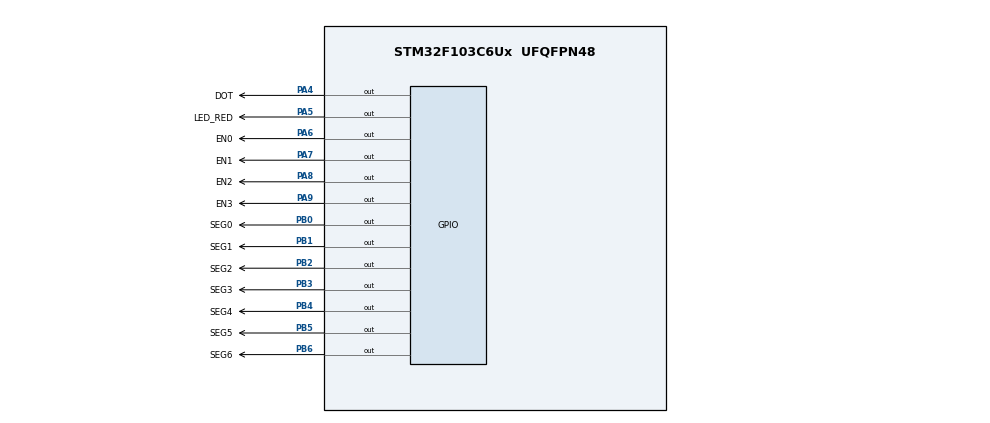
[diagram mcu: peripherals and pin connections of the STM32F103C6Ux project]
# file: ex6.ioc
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Mcu.Family=STM32F1
Mcu.Name=STM32F103C6Ux
Mcu.Package=UFQFPN48
NVIC.PriorityGroup=NVIC_PRIORITYGROUP_4
NVIC.TIM2_IRQn=true\:0\:0\:false\:false\:true\:true\:true
PA4.GPIO_Label=DOT
PA4.Signal=GPIO_Output
PA5.GPIO_Label=LED_RED
PA5.Signal=GPIO_Output
PA6.GPIO_Label=EN0
PA6.Signal=GPIO_Output
PA7.GPIO_Label=EN1
PA7.Signal=GPIO_Output
PA8.GPIO_Label=EN2
PA8.Signal=GPIO_Output
PA9.GPIO_Label=EN3
PA9.Signal=GPIO_Output
PB0.GPIO_Label=SEG0
PB0.Signal=GPIO_Output
PB1.GPIO_Label=SEG1
PB1.Signal=GPIO_Output
PB2.GPIO_Label=SEG2
PB2.Signal=GPIO_Output
PB3.GPIO_Label=SEG3
PB3.Signal=GPIO_Output
PB4.GPIO_Label=SEG4
PB4.Signal=GPIO_Output
PB5.GPIO_Label=SEG5
PB5.Signal=GPIO_Output
PB6.GPIO_Label=SEG6
PB6.Signal=GPIO_Output
ProjectManager.HeapSize=0x200
ProjectManager.StackSize=0x400
ProjectManager.TargetToolchain=STM32CubeIDE
RCC.APB1Freq_Value=8000000
RCC.APB2Freq_Value=8000000
TIM2.Period=9
TIM2.Prescaler=7999
VP_SYS_VS_ND.Mode=No_Debug
VP_TIM2_VS_ClockSourceINT.Mode=Internal
board=custom

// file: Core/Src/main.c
/* USER CODE BEGIN Header */
/**
  ******************************************************************************
  * @file           : main.c
  * @brief          : Main program body
  ******************************************************************************
  * @attention
  *
  * <h2><center>&copy; Copyright (c) 2022 STMicroelectronics.
  * All rights reserved.</center></h2>
  *
  * This software component is licensed by ST under BSD 3-Clause license,
  * the "License"; You may not use this file except in compliance with the
  * License. You may obtain a copy of the License at:
  *                        opensource.org/licenses/BSD-3-Clause
  *
  ******************************************************************************
  */
/* USER CODE END Header */
#include "main.h"

/* USER CODE BEGIN Includes */
#include "software_timer.h"
/* USER CODE END Includes */

TIM_HandleTypeDef htim2;

void SystemClock_Config(void);
static void MX_GPIO_Init(void);
static void MX_TIM2_Init(void);

/* USER CODE BEGIN 0 */
int timer0_counter = 0;
int timer0_flag = 0;
int TIMER_CYCLE = 10;
void setTimer0 (int duration ){
	timer0_counter = duration / TIMER_CYCLE ;
	timer0_flag = 0;
}
void timer_run (){
	if( timer0_counter > 0){
	timer0_counter --;
	if( timer0_counter == 0) timer0_flag = 1;
	}
}
const int MAX_LED = 4;
int index_led = 0;
int hour = 15, minute = 8, second = 57;
int led_buffer[4] = {1,2,3,4};
int pinControll7SEG[4] = {EN0_Pin, EN1_Pin, EN2_Pin, EN3_Pin};

/* USER CODE END 0 */
void clearLed() {
	HAL_GPIO_WritePin(GPIOA, EN0_Pin | EN1_Pin | EN2_Pin | EN3_Pin, SET);
}

void clearPin(int index) {
  HAL_GPIO_WritePin(GPIOA, pinControll7SEG[index], SET);
}

void enablePin(int index) {
	HAL_GPIO_WritePin(GPIOA, pinControll7SEG[index], RESET);
}

void display7SEG(int num) {
    char segNumber[10] = {0xC0, 0xF9, 0xA4, 0xB0, 0x99, 0x92, 0x82, 0xF8, 0x80, 0x90};
    for (int i = 0; i < 7; ++i) {
        HAL_GPIO_WritePin(GPIOB, GPIO_PIN_0 << i, (segNumber[num] >> i) & 1);
    }
}

void clearEnable(){
	HAL_GPIO_WritePin(EN0_GPIO_Port, EN0_Pin, 1);
	HAL_GPIO_WritePin(EN1_GPIO_Port, EN1_Pin, 1);
	HAL_GPIO_WritePin(EN2_GPIO_Port, EN2_Pin, 1);
	HAL_GPIO_WritePin(EN3_GPIO_Port, EN3_Pin, 1);
}

void update7SEG(int index) {
	clearLed();
	clearEnable();
	switch(index) {
	 // Display the first 7 SEG with led_buffer [0]
	  case 0: {
		  display7SEG(led_buffer[0]);
		  enablePin(0);
		  break;
	  }
	  // Display the first 7 SEG with led_buffer [1]
	  case 1: {
		  display7SEG(led_buffer[1]);
		  enablePin(1);
		  break;
	  }
	  // Display the first 7 SEG with led_buffer [2]
	  case 2: {
		  display7SEG(led_buffer[2]);
		  enablePin(2);
		  break;
	  }
	  // Display the first 7 SEG with led_buffer [3]
	  case 3: {
		  display7SEG(led_buffer[3]);
		  enablePin(3);
		  break;
	  }
	}
}

void updateClockBuffer() {
    led_buffer[0] = hour / 10;
    led_buffer[1] = hour % 10;
    led_buffer[2] = minute / 10;
    led_buffer[3] = minute % 10;
}

int main(void)
{

  /* MCU Configuration--------------------------------------------------------*/

  /* Reset of all peripherals, Initializes the Flash interface and the Systick. */
  HAL_Init();

  /* Configure the system clock */
  SystemClock_Config();

  /* Initialize all configured peripherals */
  MX_GPIO_Init();
  MX_TIM2_Init();
  /* USER CODE BEGIN 2 */
  HAL_TIM_Base_Start_IT(&htim2);
  /* USER CODE END 2 */

  /* Infinite loop */
  /* USER CODE BEGIN WHILE */

//  clearLed();
  setTimer0 (1000) ;
    while (1)
    {
  	  if( timer0_flag == 1){
  	  HAL_GPIO_TogglePin ( LED_RED_GPIO_Port , LED_RED_Pin );
  	  setTimer0 (2000) ;
  	  }
	  second++;
	  if (second >= 60){
		  second = 0;
		  minute++;
	  }
	  if(minute >= 60){
		  minute = 0;
		  hour++;
	  }
	  if(hour >= 24){
		  hour = 0;
	  }
	  updateClockBuffer();
	  HAL_Delay(1000);
    /* USER CODE END WHILE */
  }
}

//void display7SEG(int num)
//{
//    if (num == 0)
//    {
//        HAL_GPIO_WritePin(SEG0_GPIO_Port, SEG0_Pin, RESET);
//        HAL_GPIO_WritePin(SEG1_GPIO_Port, SEG1_Pin, RESET);
//        HAL_GPIO_WritePin(SEG2_GPIO_Port, SEG2_Pin, RESET);
//        HAL_GPIO_WritePin(SEG3_GPIO_Port, SEG3_Pin, RESET);
//        HAL_GPIO_WritePin(SEG4_GPIO_Port, SEG4_Pin, RESET);
//        HAL_GPIO_WritePin(SEG5_GPIO_Port, SEG5_Pin, RESET);
//        HAL_GPIO_WritePin(SEG6_GPIO_Port, SEG6_Pin, SET);
//    }
//
//    else if (num == 1)
//    {
//        HAL_GPIO_WritePin(SEG0_GPIO_Port, SEG0_Pin, SET);
//        HAL_GPIO_WritePin(SEG1_GPIO_Port, SEG1_Pin, RESET);
//        HAL_GPIO_WritePin(SEG2_GPIO_Port, SEG2_Pin, RESET);
//        HAL_GPIO_WritePin(SEG3_GPIO_Port, SEG3_Pin, SET);
//        HAL_GPIO_WritePin(SEG4_GPIO_Port, SEG4_Pin, SET);
//        HAL_GPIO_WritePin(SEG5_GPIO_Port, SEG5_Pin, SET);
//        HAL_GPIO_WritePin(SEG6_GPIO_Port, SEG6_Pin, SET);
//    }
//
//    else if (num == 2)
//    {
//        HAL_GPIO_WritePin(SEG0_GPIO_Port, SEG0_Pin, RESET);
//        HAL_GPIO_WritePin(SEG1_GPIO_Port, SEG1_Pin, RESET);
//        HAL_GPIO_WritePin(SEG2_GPIO_Port, SEG2_Pin,SET);
//        HAL_GPIO_WritePin(SEG3_GPIO_Port, SEG3_Pin, RESET);
//        HAL_GPIO_WritePin(SEG4_GPIO_Port, SEG4_Pin, RESET);
//        HAL_GPIO_WritePin(SEG5_GPIO_Port, SEG5_Pin, SET);
//        HAL_GPIO_WritePin(SEG6_GPIO_Port, SEG6_Pin, RESET);
//    }
//
//    else if (num == 3)
//    {
//        HAL_GPIO_WritePin(SEG0_GPIO_Port, SEG0_Pin, RESET);
//        HAL_GPIO_WritePin(SEG1_GPIO_Port, SEG1_Pin, RESET);
//        HAL_GPIO_WritePin(SEG2_GPIO_Port, SEG2_Pin,RESET);
//        HAL_GPIO_WritePin(SEG3_GPIO_Port, SEG3_Pin, RESET);
//        HAL_GPIO_WritePin(SEG4_GPIO_Port, SEG4_Pin, SET);
//        HAL_GPIO_WritePin(SEG5_GPIO_Port, SEG5_Pin, SET);
//        HAL_GPIO_WritePin(SEG6_GPIO_Port, SEG6_Pin, RESET);;
//    }
//
//    else if (num == 4)
//    {
//        HAL_GPIO_WritePin(SEG0_GPIO_Port, SEG0_Pin, SET);
//        HAL_GPIO_WritePin(SEG1_GPIO_Port, SEG1_Pin, RESET);
//        HAL_GPIO_WritePin(SEG2_GPIO_Port, SEG2_Pin,RESET);
//        HAL_GPIO_WritePin(SEG3_GPIO_Port, SEG3_Pin, SET);
//        HAL_GPIO_WritePin(SEG4_GPIO_Port, SEG4_Pin, SET);
//        HAL_GPIO_WritePin(SEG5_GPIO_Port, SEG5_Pin, RESET);
//        HAL_GPIO_WritePin(SEG6_GPIO_Port, SEG6_Pin, RESET);
//    }
//
//    else if (num == 5)
//    {
//        HAL_GPIO_WritePin(SEG0_GPIO_Port, SEG0_Pin, RESET);
//        HAL_GPIO_WritePin(SEG1_GPIO_Port, SEG1_Pin, SET);
//        HAL_GPIO_WritePin(SEG2_GPIO_Port, SEG2_Pin,RESET);
//        HAL_GPIO_WritePin(SEG3_GPIO_Port, SEG3_Pin, RESET);
//        HAL_GPIO_WritePin(SEG4_GPIO_Port, SEG4_Pin, SET);
//        HAL_GPIO_WritePin(SEG5_GPIO_Port, SEG5_Pin, RESET);
//        HAL_GPIO_WritePin(SEG6_GPIO_Port, SEG6_Pin, RESET);
//    }
//
//    else if (num == 6)
//    {
//        HAL_GPIO_WritePin(SEG0_GPIO_Port, SEG0_Pin, RESET);
//        HAL_GPIO_WritePin(SEG1_GPIO_Port, SEG1_Pin, SET);
//        HAL_GPIO_WritePin(SEG2_GPIO_Port, SEG2_Pin,RESET);
//        HAL_GPIO_WritePin(SEG3_GPIO_Port, SEG3_Pin, RESET);
//        HAL_GPIO_WritePin(SEG4_GPIO_Port, SEG4_Pin, RESET);
//        HAL_GPIO_WritePin(SEG5_GPIO_Port, SEG5_Pin, RESET);
//        HAL_GPIO_WritePin(SEG6_GPIO_Port, SEG6_Pin, RESET);
//    }
//
//    else if (num == 7)
//    {
//       HAL_GPIO_WritePin(SEG0_GPIO_Port, SEG0_Pin, RESET);
//        HAL_GPIO_WritePin(SEG1_GPIO_Port, SEG1_Pin, RESET);
//        HAL_GPIO_WritePin(SEG2_GPIO_Port, SEG2_Pin,RESET);
//        HAL_GPIO_WritePin(SEG3_GPIO_Port, SEG3_Pin, SET);
//        HAL_GPIO_WritePin(SEG4_GPIO_Port, SEG4_Pin, SET);
//        HAL_GPIO_WritePin(SEG5_GPIO_Port, SEG5_Pin, SET);
//        HAL_GPIO_WritePin(SEG6_GPIO_Port, SEG6_Pin, SET);
//    }
//
//    else if (num == 8)
//    {
//        HAL_GPIO_WritePin(SEG0_GPIO_Port, SEG0_Pin, RESET);
//        HAL_GPIO_WritePin(SEG1_GPIO_Port, SEG1_Pin, RESET);
//        HAL_GPIO_WritePin(SEG2_GPIO_Port, SEG2_Pin,RESET);
//        HAL_GPIO_WritePin(SEG3_GPIO_Port, SEG3_Pin, RESET);
//        HAL_GPIO_WritePin(SEG4_GPIO_Port, SEG4_Pin, RESET);
//        HAL_GPIO_WritePin(SEG5_GPIO_Port, SEG5_Pin, RESET);
//        HAL_GPIO_WritePin(SEG6_GPIO_Port, SEG6_Pin, RESET);
//    }
//
//    else if (num == 9)
//    {
//        HAL_GPIO_WritePin(SEG0_GPIO_Port, SEG0_Pin, RESET);
//        HAL_GPIO_WritePin(SEG1_GPIO_Port, SEG1_Pin, RESET);
//        HAL_GPIO_WritePin(SEG2_GPIO_Port, SEG2_Pin,RESET);
//        HAL_GPIO_WritePin(SEG3_GPIO_Port, SEG3_Pin, RESET);
//        HAL_GPIO_WritePin(SEG4_GPIO_Port, SEG4_Pin, SET);
//        HAL_GPIO_WritePin(SEG5_GPIO_Port, SEG5_Pin, RESET);
//        HAL_GPIO_WritePin(SEG6_GPIO_Port, SEG6_Pin, RESET);;
//    }
//
//}
void SystemClock_Config(void)
{
  RCC_OscInitTypeDef RCC_OscInitStruct = {0};
  RCC_ClkInitTypeDef RCC_ClkInitStruct = {0};

  /** Initializes the RCC Oscillators according to the specified parameters
  * in the RCC_OscInitTypeDef structure.
  */
  RCC_OscInitStruct.OscillatorType = RCC_OSCILLATORTYPE_HSI;
  RCC_OscInitStruct.HSIState = RCC_HSI_ON;
  RCC_OscInitStruct.HSICalibrationValue = RCC_HSICALIBRATION_DEFAULT;
  RCC_OscInitStruct.PLL.PLLState = RCC_PLL_NONE;
  if (HAL_RCC_OscConfig(&RCC_OscInitStruct) != HAL_OK)
  {
    Error_Handler();
  }
  /** Initializes the CPU, AHB and APB buses clocks
  */
  RCC_ClkInitStruct.ClockType = RCC_CLOCKTYPE_HCLK|RCC_CLOCKTYPE_SYSCLK
                              |RCC_CLOCKTYPE_PCLK1|RCC_CLOCKTYPE_PCLK2;
  RCC_ClkInitStruct.SYSCLKSource = RCC_SYSCLKSOURCE_HSI;
  RCC_ClkInitStruct.AHBCLKDivider = RCC_SYSCLK_DIV1;
  RCC_ClkInitStruct.APB1CLKDivider = RCC_HCLK_DIV1;
  RCC_ClkInitStruct.APB2CLKDivider = RCC_HCLK_DIV1;

  if (HAL_RCC_ClockConfig(&RCC_ClkInitStruct, FLASH_LATENCY_0) != HAL_OK)
  {
    Error_Handler();
  }
}

static void MX_TIM2_Init(void)
{

  TIM_ClockConfigTypeDef sClockSourceConfig = {0};
  TIM_MasterConfigTypeDef sMasterConfig = {0};

  htim2.Instance = TIM2;
  htim2.Init.Prescaler = 7999;
  htim2.Init.CounterMode = TIM_COUNTERMODE_UP;
  htim2.Init.Period = 9;
  htim2.Init.ClockDivision = TIM_CLOCKDIVISION_DIV1;
  htim2.Init.AutoReloadPreload = TIM_AUTORELOAD_PRELOAD_DISABLE;
  if (HAL_TIM_Base_Init(&htim2) != HAL_OK)
  {
    Error_Handler();
  }
  sClockSourceConfig.ClockSource = TIM_CLOCKSOURCE_INTERNAL;
  if (HAL_TIM_ConfigClockSource(&htim2, &sClockSourceConfig) != HAL_OK)
  {
    Error_Handler();
  }
  sMasterConfig.MasterOutputTrigger = TIM_TRGO_RESET;
  sMasterConfig.MasterSlaveMode = TIM_MASTERSLAVEMODE_DISABLE;
  if (HAL_TIMEx_MasterConfigSynchronization(&htim2, &sMasterConfig) != HAL_OK)
  {
    Error_Handler();
  }

}

static void MX_GPIO_Init(void)
{
  GPIO_InitTypeDef GPIO_InitStruct = {0};

  /* GPIO Ports Clock Enable */
  __HAL_RCC_GPIOA_CLK_ENABLE();
  __HAL_RCC_GPIOB_CLK_ENABLE();

  /*Configure GPIO pin Output Level */
  HAL_GPIO_WritePin(GPIOA, GPIO_PIN_4|GPIO_PIN_5|GPIO_PIN_6|GPIO_PIN_7
                          |GPIO_PIN_8|GPIO_PIN_9, GPIO_PIN_RESET);

  /*Configure GPIO pin Output Level */
  HAL_GPIO_WritePin(GPIOB, GPIO_PIN_0|GPIO_PIN_1|GPIO_PIN_2|GPIO_PIN_3
                          |GPIO_PIN_4|GPIO_PIN_5|GPIO_PIN_6, GPIO_PIN_RESET);

  /*Configure GPIO pins : PA4 PA5 PA6 PA7
                           PA8 PA9 */
  GPIO_InitStruct.Pin = GPIO_PIN_4|GPIO_PIN_5|GPIO_PIN_6|GPIO_PIN_7
                          |GPIO_PIN_8|GPIO_PIN_9;
  GPIO_InitStruct.Mode = GPIO_MODE_OUTPUT_PP;
  GPIO_InitStruct.Pull = GPIO_NOPULL;
  GPIO_InitStruct.Speed = GPIO_SPEED_FREQ_LOW;
  HAL_GPIO_Init(GPIOA, &GPIO_InitStruct);

  /*Configure GPIO pins : PB0 PB1 PB2 PB3
                           PB4 PB5 PB6 */
  GPIO_InitStruct.Pin = GPIO_PIN_0|GPIO_PIN_1|GPIO_PIN_2|GPIO_PIN_3
                          |GPIO_PIN_4|GPIO_PIN_5|GPIO_PIN_6;
  GPIO_InitStruct.Mode = GPIO_MODE_OUTPUT_PP;
  GPIO_InitStruct.Pull = GPIO_NOPULL;
  GPIO_InitStruct.Speed = GPIO_SPEED_FREQ_LOW;
  HAL_GPIO_Init(GPIOB, &GPIO_InitStruct);

}

/* USER CODE BEGIN 4 */
void HAL_TIM_PeriodElapsedCallback ( TIM_HandleTypeDef * htim )
{
	timer_run();
}
//int countDOT = 100;
//int countLed = 5;
//void HAL_TIM_PeriodElapsedCallback(TIM_HandleTypeDef *htim)
//{
//	if(countDOT == 0) {
//		HAL_GPIO_TogglePin(LED_RED_GPIO_Port, LED_RED_Pin);
//		HAL_GPIO_TogglePin(DOT_GPIO_Port, DOT_Pin);
//		countDOT = 100;
//	}
//	if(countLed == 0) {
//		update7SEG(index_led);
//		index_led++;
//		if(index_led >= 4) index_led = 0;
//		countLed = 5;
//	}
//	countDOT--;
//	countLed--;
//}
/* USER CODE END 4 */

void Error_Handler(void)
{
  __disable_irq();
  while (1)
  {
  }
}

/************************ (C) COPYRIGHT STMicroelectronics *****END OF FILE****/
